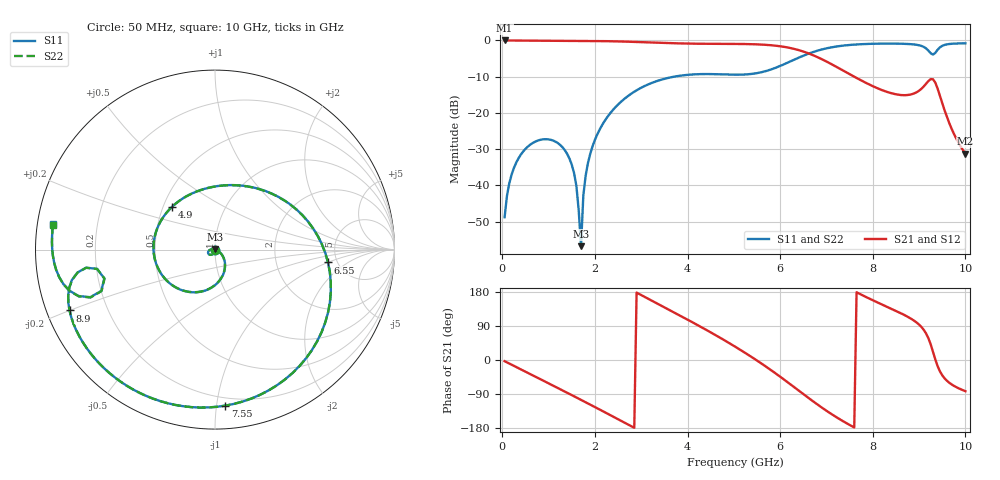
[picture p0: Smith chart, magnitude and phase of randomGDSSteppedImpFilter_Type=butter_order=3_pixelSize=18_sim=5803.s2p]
! freq	dB(S11)	phase(S11)	dB(S12)	phase(S12)
!  dB(S21)	phase(S21)	dB(S22)	phase(S22)
!S-par simulation data
#  GHz  S  DB  R 50
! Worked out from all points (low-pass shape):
!   200 points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, 50 MHz to 10 GHz, reference 50 ohm
!   highest |S21| = -0.01 dB at 50 MHz (marker M1); lowest = -31.2 dB at 10 GHz (marker M2)
!   |S21| within 3 dB of the highest: start of sweep to 6.486 GHz
!   lowest |S11| = -56.8 dB at 1.7 GHz (marker M3), VSWR 1.00, Z = 50.1 + j0.075 ohm
!   |S11| at or under -10 dB: start of sweep to 3.711 GHz
!   |S22| runs from -58.4 to -0.8 dB; largest |S21 - S12| = 0
!   S11 on the Smith chart (normalised r, x): 50 MHz: 1.00, -0.01; 4.9 GHz: 0.56, +0.30; 6.55 GHz: 4.21, -1.00; 7.55 GHz: 0.15, -1.06; 8.9 GHz: 0.07, -0.20; 10 GHz: 0.05, +0.08
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0.05  -48.79 -84.4  -0.01 -3.1  -0.01 -3.1  -48.79 -84.3
0.15  -39.50 -96.4  -0.02 -9.3  -0.02 -9.3  -39.49 -96.4
0.4  -31.52 -114.0  -0.04 -24.7  -0.04 -24.7  -31.52 -114.0
1.1  -27.65 -158.9  -0.09 -67.8  -0.09 -67.8  -27.64 -158.7
1.55  -36.62 171.5  -0.12 -95.8  -0.12 -95.8  -36.61 172.7
1.65  -46.86 159.1  -0.12 -102.0  -0.12 -102.0  -46.85 164.1
1.7  -56.79 31.1  -0.13 -105.2  -0.13 -105.2  -58.43 12.8
1.75  -42.80 -14.1  -0.13 -108.3  -0.13 -108.3  -42.87 -17.3
1.9  -31.24 -27.1  -0.15 -117.8  -0.15 -117.8  -31.26 -28.1
2.2  -22.43 -47.1  -0.19 -137.0  -0.19 -137.0  -22.44 -47.6
3.4  -10.96 -124.5  -0.65 145.5  -0.65 145.5  -10.97 -124.8
4.2  -9.33 -176.4  -0.91 93.3  -0.91 93.3  -9.33 -176.8
4.9  -9.43 135.0  -0.95 44.7  -0.95 44.7  -9.43 134.5
5.05  -9.46 123.8  -0.96 33.6  -0.96 33.6  -9.46 123.3
5.75  -8.23 66.8  -1.27 -22.2  -1.27 -22.2  -8.23 66.5
6.55  -3.96 -6.5  -3.28 -94.4  -3.28 -94.4  -3.96 -6.5
6.7  -3.26 -20.1  -4.02 -108.1  -4.02 -108.1  -3.25 -20.2
7.55  -1.20 -86.2  -9.66 -174.7  -9.66 -174.7  -1.20 -86.1
8.35  -0.87 -130.6  -14.37 138.1  -14.37 138.1  -0.87 -130.5
8.9  -1.12 -157.3  -14.59 103.1  -14.59 103.1  -1.12 -157.2
9.3  -3.91 -165.4  -10.72 22.0  -10.72 22.0  -3.93 -165.3
10  -0.80 171.1  -31.24 -82.3  -31.24 -82.3  -0.80 171.2
